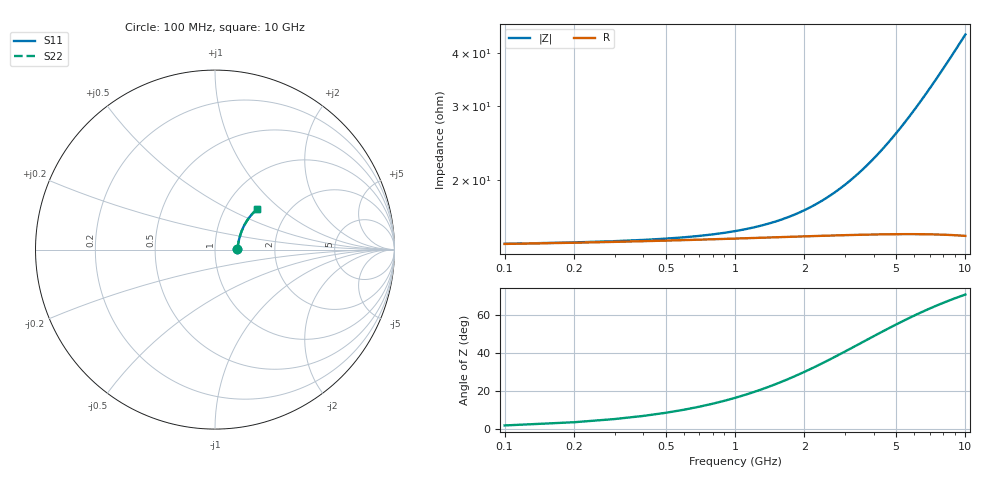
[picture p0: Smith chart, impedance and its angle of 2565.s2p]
# Hz S RI R 50.00
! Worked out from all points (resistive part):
!   100 points, 100 MHz to 10 GHz, reference 50 ohm
!   read as one part in series: R = 14.2 ohm at 100 MHz
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1e8  0.124 0.00268  0.876 -0.0038  0.876 -0.0038  0.124 0.00268
2e8  0.1247 0.00535  0.8753 -0.00759  0.8753 -0.00759  0.1247 0.00535
7e8  0.1271 0.0186  0.8729 -0.0264  0.8729 -0.0264  0.1271 0.0186
1e9  0.1284 0.0265  0.8716 -0.0377  0.8716 -0.0377  0.1284 0.0265
1.2e9  0.1292 0.0318  0.8707 -0.0452  0.8707 -0.0452  0.1292 0.0318
1.4e9  0.1301 0.037  0.8697 -0.0527  0.8697 -0.0527  0.1301 0.037
1.8e9  0.1322 0.0474  0.8676 -0.0675  0.8676 -0.0675  0.1322 0.0474
2.1e9  0.1338 0.0552  0.8658 -0.0786  0.8658 -0.0786  0.1338 0.0552
2.5e9  0.1363 0.0654  0.8632 -0.0934  0.8632 -0.0934  0.1363 0.0654
2.9e9  0.1391 0.0756  0.8603 -0.108  0.8603 -0.108  0.1391 0.0756
3.4e9  0.143 0.0881  0.8562 -0.1261  0.8562 -0.1261  0.143 0.0881
4.2e9  0.1503 0.1076  0.8485 -0.1546  0.8485 -0.1546  0.1503 0.1076
5.1e9  0.1599 0.1288  0.8384 -0.1859  0.8384 -0.1859  0.1599 0.1288
5.9e9  0.1696 0.1469  0.8281 -0.2129  0.8281 -0.2129  0.1696 0.1469
6.3e9  0.1748 0.1556  0.8225 -0.2261  0.8225 -0.2261  0.1748 0.1556
6.7e9  0.1804 0.1641  0.8166 -0.2391  0.8166 -0.2391  0.1804 0.1641
7.1e9  0.1862 0.1724  0.8104 -0.2519  0.8104 -0.2519  0.1862 0.1724
7.5e9  0.1922 0.1804  0.804 -0.2644  0.804 -0.2644  0.1922 0.1804
7.9e9  0.1984 0.1882  0.7974 -0.2767  0.7974 -0.2767  0.1984 0.1882
8.4e9  0.2065 0.1976  0.7887 -0.2917  0.7887 -0.2917  0.2065 0.1976
9.2e9  0.2201 0.2118  0.7742 -0.3149  0.7742 -0.3149  0.2201 0.2118
1e10  0.2344 0.2249  0.7588 -0.3371  0.7588 -0.3371  0.2344 0.2249
